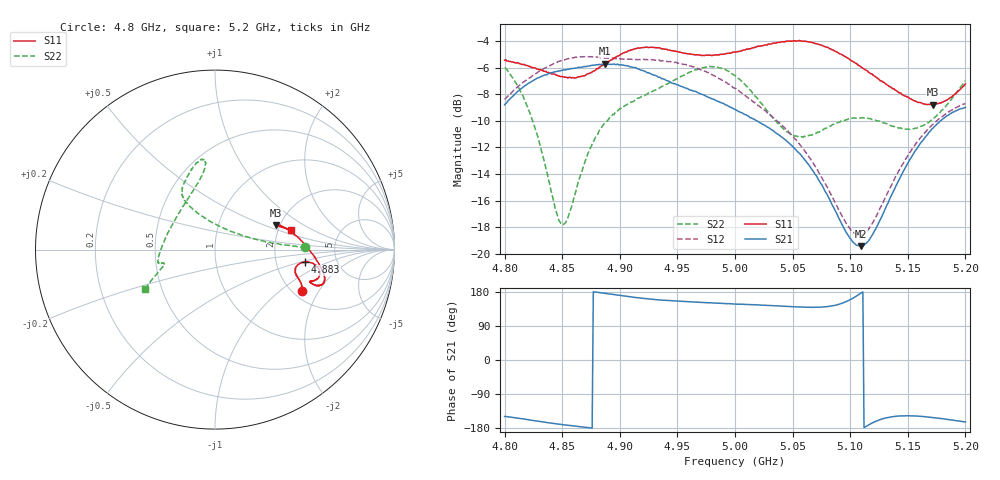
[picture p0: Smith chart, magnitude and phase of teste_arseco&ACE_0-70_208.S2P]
! Network Analyzer HP8722D
! Hewlett-Packard
! Data name: Linha & Wilkinson
! Saver's name: Rodrigo Anjos
! Comments: Teste da utilização de aquisição
! continua pelo VNA HP8722D
! Time and date: 8/5/2025 14:29
!  Frequency  S11  S21  S12  S22
# HZ  S  MA R 50
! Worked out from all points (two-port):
!   401 points, 4.8 GHz to 5.2 GHz, reference 50 ohm
!   highest |S21| = -5.68 dB at 4.887 GHz (marker M1); lowest = -19.4 dB at 5.109 GHz (marker M2)
!   |S21| within 3 dB of the highest: 4.801 GHz to 4.99 GHz (189.1 MHz wide, 3.86 % of centre)
!   lowest |S11| = -8.8 dB at 5.172 GHz (marker M3), VSWR 2.15, Z = 94.8 + j30 ohm
!   |S11| at or under -10 dB: nowhere
!   |S22| runs from -17.8 to -5.9 dB; largest |S21 - S12| = 1.1
!   S11 on the Smith chart (normalised r, x): 4.8 GHz: 2.24, -1.44; 4.883 GHz: 2.94, -0.55; 5.2 GHz: 2.34, +0.64
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4.8e9  0.5359 -25.3  0.3637 -148.9  0.3811 10.7  0.5025 1.6
4.811e9  0.5247 -22.7  0.4075 -153.3  0.4239 8.9  0.4314 2.8
4.823e9  0.5051 -20.4  0.4449 -158.7  0.4639 7.4  0.3286 6.3
4.845e9  0.4704 -16.9  0.4864 -168.4  0.525 3.7  0.1432 41.7
4.849e9  0.4649 -16.0  0.4907 -170.0  0.5337 2.9  0.1297 58.9
4.855e9  0.4595 -14.4  0.4958 -172.4  0.5428 2.1  0.1366 84.9
4.867e9  0.4661 -10.9  0.5038 -176.5  0.5529 0.4  0.2033 112.1
4.883e9  0.5067 -7.9  0.5154 177.5  0.5484 -0.9  0.2935 120.7
4.887e9  0.5191 -7.4  0.5201 176.1  0.5453 -0.9  0.3103 121.4
4.912e9  0.5899 -10.7  0.5037 165.5  0.5398 -0.5  0.3753 119.1
4.934e9  0.5973 -15.5  0.4621 158.5  0.5379 -1.5  0.4194 112.9
4.976e9  0.561 -18.6  0.3897 151.4  0.4819 -5.1  0.5078 98.9
5e9  0.576 -19.4  0.3499 147.8  0.4206 -5.0  0.4692 96.6
5.044e9  0.6324 -17.5  0.2679 141.6  0.295 3.0  0.2903 131.2
5.067e9  0.6254 -13.4  0.2069 139.0  0.2225 9.4  0.2804 164.5
5.098e9  0.5457 -2.9  0.1176 156.3  0.1271 37.1  0.3215 -170.4
5.109e9  0.5072 2.5  0.1066 175.7  0.1172 58.8  0.3246 -167.4
5.118e9  0.4765 6.8  0.1153 -167.9  0.1273 76.3  0.3219 -166.3
5.134e9  0.4259 14.8  0.1595 -150.8  0.1746 94.7  0.306 -165.6
5.153e9  0.3831 20.7  0.2302 -147.3  0.2449 101.4  0.2942 -164.2
5.172e9  0.3645 22.1  0.2974 -151.9  0.3078 102.6  0.3221 -160.1
5.2e9  0.4364 14.8  0.356 -163.6  0.3683 102.9  0.4493 -150.4
